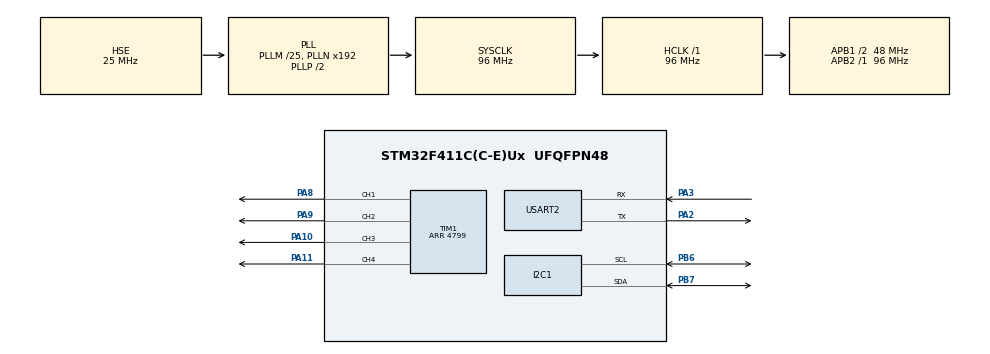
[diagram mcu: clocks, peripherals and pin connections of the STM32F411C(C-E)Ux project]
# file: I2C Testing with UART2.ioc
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Mcu.Family=STM32F4
Mcu.Name=STM32F411C(C-E)Ux
Mcu.Package=UFQFPN48
NVIC.PriorityGroup=NVIC_PRIORITYGROUP_4
PA10.Signal=S_TIM1_CH3
PA11.Signal=S_TIM1_CH4
PA13.Mode=Serial_Wire
PA13.Signal=SYS_JTMS-SWDIO
PA14.Mode=Serial_Wire
PA14.Signal=SYS_JTCK-SWCLK
PA2.Mode=Asynchronous
PA2.Signal=USART2_TX
PA3.Mode=Asynchronous
PA3.Signal=USART2_RX
PA8.Signal=S_TIM1_CH1
PA9.Signal=S_TIM1_CH2
PB6.Mode=I2C
PB6.Signal=I2C1_SCL
PB7.Mode=I2C
PB7.Signal=I2C1_SDA
PH0\ -\ OSC_IN.Mode=HSE-External-Oscillator
PH0\ -\ OSC_IN.Signal=RCC_OSC_IN
PH1\ -\ OSC_OUT.Mode=HSE-External-Oscillator
PH1\ -\ OSC_OUT.Signal=RCC_OSC_OUT
ProjectManager.HeapSize=0x200
ProjectManager.StackSize=0x400
ProjectManager.TargetToolchain=STM32CubeIDE
RCC.48MHZClocksFreq_Value=48000000
RCC.AHBFreq_Value=96000000
RCC.APB1CLKDivider=RCC_HCLK_DIV2
RCC.APB1Freq_Value=48000000
RCC.APB1TimFreq_Value=96000000
RCC.APB2Freq_Value=96000000
RCC.APB2TimFreq_Value=96000000
RCC.CortexFreq_Value=96000000
RCC.HCLKFreq_Value=96000000
RCC.HSE_VALUE=25000000
RCC.HSI_VALUE=16000000
RCC.LSE_VALUE=32768
RCC.PLLM=25
RCC.PLLSourceVirtual=RCC_PLLSOURCE_HSE
RCC.SYSCLKFreq_VALUE=96000000
RCC.SYSCLKSource=RCC_SYSCLKSOURCE_PLLCLK
RCC.VCOOutputFreq_Value=192000000
SH.S_TIM1_CH1.0=TIM1_CH1,PWM Generation1 CH1
SH.S_TIM1_CH2.0=TIM1_CH2,PWM Generation2 CH2
SH.S_TIM1_CH3.0=TIM1_CH3,PWM Generation3 CH3
SH.S_TIM1_CH4.0=TIM1_CH4,PWM Generation4 CH4
TIM1.Channel-PWM\ Generation1\ CH1=TIM_CHANNEL_1
TIM1.Channel-PWM\ Generation2\ CH2=TIM_CHANNEL_2
TIM1.Channel-PWM\ Generation3\ CH3=TIM_CHANNEL_3
TIM1.Channel-PWM\ Generation4\ CH4=TIM_CHANNEL_4
TIM1.Period=4799
USART2.VirtualMode=VM_ASYNC
board=custom

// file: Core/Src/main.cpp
/* USER CODE BEGIN Header */
/**
  ******************************************************************************
  * @file           : main.c
  * @brief          : Main program body
  ******************************************************************************
  * @attention
  *
  * Copyright (c) 2023 STMicroelectronics.
  * All rights reserved.
  *
  * This software is licensed under terms that can be found in the LICENSE file
  * in the root directory of this software component.
  * If no LICENSE file comes with this software, it is provided AS-IS.
  *
  ******************************************************************************
  */
/* USER CODE END Header */
#include "main.h"
#include <stdio.h>
#include <cmath>
#include "APDS9960_RGBY_Ball_Ident_Driver.hpp"
#include "motor_driver.h"

I2C_HandleTypeDef hi2c1;
TIM_HandleTypeDef htim1;
UART_HandleTypeDef huart2;

/* USER CODE BEGIN PV */
static const uint8_t APDS9960_ADDR = 0x39 << 1;
static const uint8_t APDS9960_ENABLE = 0x80;
static const uint8_t APDS9960_ControlRegister = 0x8F;
static const uint8_t RedColorLSBRegister = 0x96;
static const uint8_t RedColorMSBRegister = 0x97;
static const uint8_t ProximityData = 0x9C;

motor_params_t motor1 =
{
		&htim1,
		TIM_CHANNEL_1,
		TIM_CHANNEL_2
};
//declaring motor 1 struct
motor_params_t motor2 =
{
		&htim1,
		TIM_CHANNEL_3,
		TIM_CHANNEL_4
};
//Initial duty cycle for each motor
int8_t motor1_duty = 0;
int8_t motor2_duty = 0;

uint8_t char_in = 0;         //buffer for incoming characters
uint8_t cmd_line[4] = {0};   //buffer for command line, incoming characters are stored here
uint32_t cmd_pointer = 0;

/* USER CODE END PV */

void SystemClock_Config(void);
static void MX_GPIO_Init(void);
static void MX_I2C1_Init(void);
static void MX_USART2_UART_Init(void);
static void MX_TIM1_Init(void);

void check_huart() {
	HAL_StatusTypeDef ret;

	uint8_t Bad[] = "BAD";
	uint8_t Good[] = "Good";
	uint8_t indent[] = "\r\n";
	ret = HAL_I2C_IsDeviceReady(&hi2c1, APDS9960_ADDR, 3, 5);
	if (ret != HAL_OK) { /* No ACK Received At That Address */
	  	HAL_UART_Transmit(&huart2, Bad, sizeof(Bad), 1000);
	}
	else if(ret == HAL_OK) {
	  	HAL_UART_Transmit(&huart2, Good, sizeof(Good), 1000);
	}
}

int main(void)
{

  /* MCU Configuration--------------------------------------------------------*/

  /* Reset of all peripherals, Initializes the Flash interface and the Systick. */
  HAL_Init();

  /* Configure the system clock */
  SystemClock_Config();

  /* Initialize all configured peripherals */
  MX_GPIO_Init();
  MX_I2C1_Init();
  MX_USART2_UART_Init();
  MX_TIM1_Init();
  /* USER CODE BEGIN 2 */
  HAL_TIM_Base_Start(&htim1);
  enable_channel(motor1, TIM_CHANNEL_1);
  enable_channel(motor1, TIM_CHANNEL_2);
  enable_channel(motor2, TIM_CHANNEL_3);
  enable_channel(motor2, TIM_CHANNEL_4);

  HAL_UART_Receive_IT(&huart2, &char_in, 1);
  //check_huart();
  APDS9960_ColorSense ColorSensor(hi2c1);

  /* USER CODE END 2 */

  /* Infinite loop */
  /* USER CODE BEGIN WHILE */
  while (true) {
    /* USER CODE END WHILE */

    /* USER CODE BEGIN 3 */
	  //set_PWM(motor1, motor1_duty);
	  //set_PWM(motor2, motor2_duty);
	  HAL_Delay(10);
	  char color = ColorSensor.getColor();
	  if (color != 'n'){
		  HAL_UART_Transmit(&huart2, (uint8_t *) &color, 1, 10000);
	  };
  }
  /* USER CODE END 3 */
}

void SystemClock_Config(void)
{
  RCC_OscInitTypeDef RCC_OscInitStruct = {0};
  RCC_ClkInitTypeDef RCC_ClkInitStruct = {0};

  /** Configure the main internal regulator output voltage
  */
  __HAL_RCC_PWR_CLK_ENABLE();
  __HAL_PWR_VOLTAGESCALING_CONFIG(PWR_REGULATOR_VOLTAGE_SCALE1);

  /** Initializes the RCC Oscillators according to the specified parameters
  * in the RCC_OscInitTypeDef structure.
  */
  RCC_OscInitStruct.OscillatorType = RCC_OSCILLATORTYPE_HSE;
  RCC_OscInitStruct.HSEState = RCC_HSE_ON;
  RCC_OscInitStruct.PLL.PLLState = RCC_PLL_ON;
  RCC_OscInitStruct.PLL.PLLSource = RCC_PLLSOURCE_HSE;
  RCC_OscInitStruct.PLL.PLLM = 25;
  RCC_OscInitStruct.PLL.PLLN = 192;
  RCC_OscInitStruct.PLL.PLLP = RCC_PLLP_DIV2;
  RCC_OscInitStruct.PLL.PLLQ = 4;
  if (HAL_RCC_OscConfig(&RCC_OscInitStruct) != HAL_OK)
  {
    Error_Handler();
  }

  /** Initializes the CPU, AHB and APB buses clocks
  */
  RCC_ClkInitStruct.ClockType = RCC_CLOCKTYPE_HCLK|RCC_CLOCKTYPE_SYSCLK
                              |RCC_CLOCKTYPE_PCLK1|RCC_CLOCKTYPE_PCLK2;
  RCC_ClkInitStruct.SYSCLKSource = RCC_SYSCLKSOURCE_PLLCLK;
  RCC_ClkInitStruct.AHBCLKDivider = RCC_SYSCLK_DIV1;
  RCC_ClkInitStruct.APB1CLKDivider = RCC_HCLK_DIV2;
  RCC_ClkInitStruct.APB2CLKDivider = RCC_HCLK_DIV1;

  if (HAL_RCC_ClockConfig(&RCC_ClkInitStruct, FLASH_LATENCY_3) != HAL_OK)
  {
    Error_Handler();
  }
}

static void MX_TIM1_Init(void)
{

  TIM_MasterConfigTypeDef sMasterConfig = {0};
  TIM_OC_InitTypeDef sConfigOC = {0};
  TIM_BreakDeadTimeConfigTypeDef sBreakDeadTimeConfig = {0};

  htim1.Instance = TIM1;
  htim1.Init.Prescaler = 0;
  htim1.Init.CounterMode = TIM_COUNTERMODE_UP;
  htim1.Init.Period = 4799;
  htim1.Init.ClockDivision = TIM_CLOCKDIVISION_DIV1;
  htim1.Init.RepetitionCounter = 0;
  htim1.Init.AutoReloadPreload = TIM_AUTORELOAD_PRELOAD_DISABLE;
  if (HAL_TIM_PWM_Init(&htim1) != HAL_OK)
  {
    Error_Handler();
  }
  sMasterConfig.MasterOutputTrigger = TIM_TRGO_RESET;
  sMasterConfig.MasterSlaveMode = TIM_MASTERSLAVEMODE_DISABLE;
  if (HAL_TIMEx_MasterConfigSynchronization(&htim1, &sMasterConfig) != HAL_OK)
  {
    Error_Handler();
  }
  sConfigOC.OCMode = TIM_OCMODE_PWM1;
  sConfigOC.Pulse = 0;
  sConfigOC.OCPolarity = TIM_OCPOLARITY_HIGH;
  sConfigOC.OCNPolarity = TIM_OCNPOLARITY_HIGH;
  sConfigOC.OCFastMode = TIM_OCFAST_DISABLE;
  sConfigOC.OCIdleState = TIM_OCIDLESTATE_RESET;
  sConfigOC.OCNIdleState = TIM_OCNIDLESTATE_RESET;
  if (HAL_TIM_PWM_ConfigChannel(&htim1, &sConfigOC, TIM_CHANNEL_1) != HAL_OK)
  {
    Error_Handler();
  }
  if (HAL_TIM_PWM_ConfigChannel(&htim1, &sConfigOC, TIM_CHANNEL_2) != HAL_OK)
  {
    Error_Handler();
  }
  if (HAL_TIM_PWM_ConfigChannel(&htim1, &sConfigOC, TIM_CHANNEL_3) != HAL_OK)
  {
    Error_Handler();
  }
  if (HAL_TIM_PWM_ConfigChannel(&htim1, &sConfigOC, TIM_CHANNEL_4) != HAL_OK)
  {
    Error_Handler();
  }
  sBreakDeadTimeConfig.OffStateRunMode = TIM_OSSR_DISABLE;
  sBreakDeadTimeConfig.OffStateIDLEMode = TIM_OSSI_DISABLE;
  sBreakDeadTimeConfig.LockLevel = TIM_LOCKLEVEL_OFF;
  sBreakDeadTimeConfig.DeadTime = 0;
  sBreakDeadTimeConfig.BreakState = TIM_BREAK_DISABLE;
  sBreakDeadTimeConfig.BreakPolarity = TIM_BREAKPOLARITY_HIGH;
  sBreakDeadTimeConfig.AutomaticOutput = TIM_AUTOMATICOUTPUT_DISABLE;
  if (HAL_TIMEx_ConfigBreakDeadTime(&htim1, &sBreakDeadTimeConfig) != HAL_OK)
  {
    Error_Handler();
  }
  HAL_TIM_MspPostInit(&htim1);

}

static void MX_I2C1_Init(void)
{

  hi2c1.Instance = I2C1;
  hi2c1.Init.ClockSpeed = 100000;
  hi2c1.Init.DutyCycle = I2C_DUTYCYCLE_2;
  hi2c1.Init.OwnAddress1 = 0;
  hi2c1.Init.AddressingMode = I2C_ADDRESSINGMODE_7BIT;
  hi2c1.Init.DualAddressMode = I2C_DUALADDRESS_DISABLE;
  hi2c1.Init.OwnAddress2 = 0;
  hi2c1.Init.GeneralCallMode = I2C_GENERALCALL_DISABLE;
  hi2c1.Init.NoStretchMode = I2C_NOSTRETCH_DISABLE;
  if (HAL_I2C_Init(&hi2c1) != HAL_OK)
  {
    Error_Handler();
  }

}

static void MX_USART2_UART_Init(void)
{

  huart2.Instance = USART2;
  huart2.Init.BaudRate = 115200;
  huart2.Init.WordLength = UART_WORDLENGTH_8B;
  huart2.Init.StopBits = UART_STOPBITS_1;
  huart2.Init.Parity = UART_PARITY_NONE;
  huart2.Init.Mode = UART_MODE_TX_RX;
  huart2.Init.HwFlowCtl = UART_HWCONTROL_NONE;
  huart2.Init.OverSampling = UART_OVERSAMPLING_16;
  if (HAL_UART_Init(&huart2) != HAL_OK)
  {
    Error_Handler();
  }

}

static void MX_GPIO_Init(void)
{

  /* GPIO Ports Clock Enable */
  __HAL_RCC_GPIOH_CLK_ENABLE();
  __HAL_RCC_GPIOA_CLK_ENABLE();
  __HAL_RCC_GPIOB_CLK_ENABLE();

}

void Error_Handler(void)
{
  __disable_irq();
  while (1)
  {
  }
}
